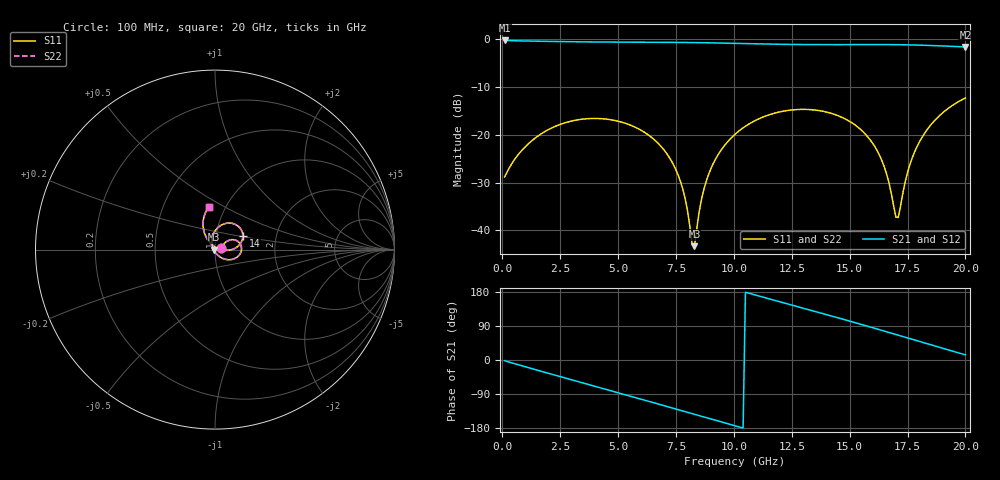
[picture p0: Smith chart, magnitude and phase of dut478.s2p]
! Touchstone file exported from HFSS 2026.1.0
!  File:  C:/ffzhzh/LocalFiles/Ansys_Project_Files/temp_train_TSV_RDL_478_1783103863_35180.aedt
!  Generated:  02:50:36 AM Jul  4, 2026
!  Design:  TSV_RDL
!  Project:  temp_train_TSV_RDL_478_1783103863_35180
! Variables:
!  h_bsmrdl = 5.87um
!  h_ox = 20um
!  h_rdl = 5um
!  h_sub = 71.92um
!  h_tmrdl = 2.56um
!  h_tsv = 71.92um
!  h_via = 3um
!  l_bsmrdl = 795.31um
!  l_sub = 5731.5um
!  l_tmrdl = 710.18um
!  m_sub = 200um
!  pitch = 24.29um
!  r_tsv = 6.43um
!  s_tmrdl = 10um
!  w_bsmrdl = 20.2um
!  w_sub = 500um
!  w_tmrdl = 14.75um
!  x_tsv_center1 = 717.555um
!  x_tsv_center2 = 1533.065um
!  x_tsv_center3 = 2257.995um
!  x_tsv_center4 = 3073.505um
!  x_tsv_center5 = 3798.435um
!  x_tsv_center6 = 4613.945um
# GHz S MA R 50.000000
! Terminal data exported
! Port[1] = TM_RDL1_1_T1
! Port[2] = TM_RDL5_1_T1
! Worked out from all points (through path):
!   200 points, 100 MHz to 20 GHz, reference 50 ohm
!   highest |S21| = -0.31 dB at 100 MHz (marker M1); lowest = -1.7 dB at 20 GHz (marker M2)
!   group delay of S21, straight-line fit = 47.8 ps
!   lowest |S11| = -43.3 dB at 8.3 GHz (marker M3), VSWR 1.01, Z = 49.3 - j0.0556 ohm
!   |S11| at or under -10 dB: start of sweep to end of sweep
!   |S22| runs from -43.6 to -12.3 dB; largest |S21 - S12| = 3.4e-14
!   S11 on the Smith chart (normalised r, x): 100 MHz: 1.07, +0.02; 14 GHz: 1.35, +0.21; 20 GHz: 0.84, +0.42
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0.1  0.03631 12.2  0.9647 -2.0  0.9647 -2.0  0.03631 12.2
! Gamma 0 0 0 0
! Port Impedance 50 0 50 0
1.5  0.09547 33.3  0.9473 -26.6  0.9473 -26.6  0.09546 33.4
3.5  0.1458 10.1  0.9324 -60.9  0.9324 -60.9  0.1457 10.2
5.2  0.1344 -15.9  0.9268 -89.8  0.9268 -89.8  0.1343 -15.8
6.8  0.07812 -43.6  0.924 -117.3  0.924 -117.3  0.07804 -43.4
7.7  0.03221 -65.1  0.9205 -132.9  0.9205 -132.9  0.03208 -64.7
8  0.01605 -82.1  0.9188 -138.1  0.9188 -138.1  0.01586 -81.3
8.2  0.007161 -125.0  0.9175 -141.6  0.9175 -141.6  0.006858 -124.4
8.3  0.00686 -175.3  0.9168 -143.3  0.9168 -143.3  0.006611 -176.9
8.6  0.02097 129.0  0.9145 -148.6  0.9145 -148.6  0.02096 128.2
8.9  0.03798 116.0  0.9119 -153.8  0.9119 -153.8  0.03801 115.5
10.1  0.1035 90.1  0.8995 -174.5  0.8995 -174.5  0.1036 89.9
11.7  0.1664 62.8  0.8826 158.4  0.8826 158.4  0.1665 62.7
13.4  0.1821 35.5  0.8731 129.9  0.8731 129.9  0.1823 35.4
14  0.1725 26.1  0.8725 119.8  0.8725 119.8  0.1727 26.0
15.7  0.1002 1.3  0.8746 90.5  0.8746 90.5  0.1003 1.1
16.7  0.03142 1.5  0.8733 72.7  0.8733 72.7  0.03142 0.8
17  0.01379 43.4  0.8719 67.3  0.8719 67.3  0.01351 42.3
17.1  0.01368 76.9  0.8713 65.5  0.8713 65.5  0.0133 76.7
17.5  0.04025 124.2  0.8681 58.3  0.8681 58.3  0.03997 124.6
18  0.08281 125.5  0.8623 49.2  0.8623 49.2  0.08259 125.7
20  0.2417 98.1  0.8256 13.7  0.8256 13.7  0.2415 98.1
